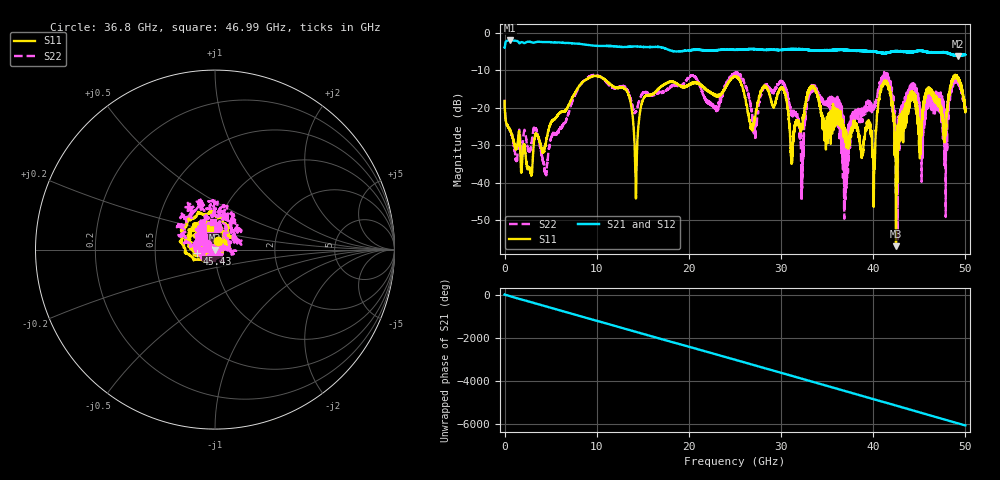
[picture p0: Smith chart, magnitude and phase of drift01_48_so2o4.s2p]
!Created with skrf (http://scikit-rf.org).
# Hz S RI R 50.0
!freq ReS11 ImS11 ReS21 ImS21 ReS12 ImS12 ReS22 ImS22
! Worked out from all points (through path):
!   10001 points, 300 kHz to 50 GHz, reference 50 ohm
!   highest |S21| = -2.00 dB at 580.3 MHz (marker M1); lowest = -6.1 dB at 49.21 GHz (marker M2)
!   group delay of S21, straight-line fit = 336 ps
!   lowest |S11| = -57.0 dB at 42.47 GHz (marker M3), VSWR 1.00, Z = 50 - j0.136 ohm
!   |S11| at or under -10 dB: start of sweep to end of sweep
!   |S22| runs from -55.2 to -10.4 dB; largest |S21 - S12| = 0.021
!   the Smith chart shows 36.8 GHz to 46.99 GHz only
!   S11 on the Smith chart (normalised r, x): 36.8 GHz: 1.03, +0.09; 45.43 GHz: 0.81, -0.03; 46.99 GHz: 0.92, +0.23
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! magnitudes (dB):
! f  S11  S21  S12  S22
! 300 kHz  -18.2  -4.0  -4.1  -17.9
! 580.3 MHz  -26.0  -2.0  -2.0  -26.1
! 4.435 GHz  -29.9  -2.4  -2.4  -36.9
! 8.335 GHz  -13.5  -3.0  -3.0  -13.5
! 13.16 GHz  -15.2  -3.8  -3.7  -14.7
! 14.25 GHz  -44.2  -3.6  -3.6  -21.1
! 16.67 GHz  -14.9  -3.8  -3.7  -15.8
! 25 GHz  -11.6  -4.5  -4.6  -11.0
! 27.14 GHz  -22.6  -4.3  -4.3  -25.4
! 30.19 GHz  -15.0  -4.5  -4.5  -13.4
! 31.14 GHz  -33.2  -4.3  -4.3  -21.6
! 32.23 GHz  -24.5  -4.4  -4.4  -38.9
! 33.34 GHz  -14.4  -4.7  -4.6  -14.5
! 36.8 GHz  -26.2  -4.5  -4.4  -25.4
! 40.07 GHz  -43.1  -5.0  -5.0  -20.2
! 41.67 GHz  -14.5  -5.1  -5.2  -12.2
! 42.47 GHz  -57.0  -4.9  -4.8  -33.2
! 44.17 GHz  -16.9  -5.0  -5.1  -13.6
! 45.43 GHz  -19.7  -4.9  -4.8  -22.3
! 46.99 GHz  -18.0  -5.2  -5.3  -16.4
! 49.21 GHz  -11.7  -6.1  -6.1  -12.6
! 50 GHz  -20.2  -5.8  -5.8  -20.1
